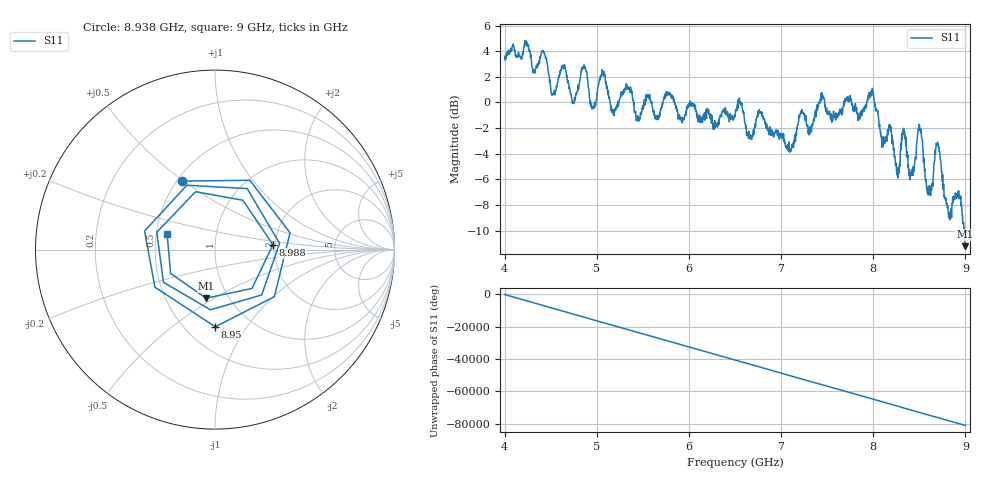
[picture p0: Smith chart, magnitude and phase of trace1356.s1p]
! Created with skrf 1.8.0 (http://scikit-rf.org).
# Hz S RI R 50.0
!freq ReS11 ImS11
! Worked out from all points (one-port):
!   1601 points, 4 GHz to 9 GHz, reference 50 ohm
!   lowest |S11| = -11.2 dB at 8.994 GHz (marker M1), VSWR 1.76, Z = 39.3 - j23 ohm
!   |S11| at or under -10 dB: 8.983954 GHz to 8.984173 GHz (218.9 kHz wide, 0.00244 % of centre); 8.988917 GHz to end of sweep
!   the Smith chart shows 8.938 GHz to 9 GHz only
!   S11 on the Smith chart (normalised r, x): 8.938 GHz: 0.53, +0.49; 8.95 GHz: 0.69, -0.73; 8.988 GHz: 1.95, +0.12; 9 GHz: 0.57, +0.11
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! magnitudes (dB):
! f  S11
! 4 GHz  3.6
! 4.422 GHz  3.9
! 4.528 GHz  0.8
! 4.625 GHz  2.7
! 4.741 GHz  0.0
! 4.856 GHz  2.7
! 4.947 GHz  -0.3
! 5.062 GHz  2.2
! 5.25 GHz  0.3
! 5.875 GHz  -0.6
! 6.5 GHz  -1.1
! 7.125 GHz  -3.2
! 7.219 GHz  -0.8
! 7.75 GHz  0.3
! 7.981 GHz  0.5
! 8.259 GHz  -5.4
! 8.331 GHz  -2.0
! 8.375 GHz  -4.1
! 8.422 GHz  -5.7
! 8.506 GHz  -2.2
! 8.6 GHz  -6.6
! 8.697 GHz  -3.1
! 8.812 GHz  -8.4
! 8.938 GHz  -7.5
! 8.95 GHz  -7.3
! 8.988 GHz  -9.8
! 8.994 GHz  -11.2
! 9 GHz  -11.0
